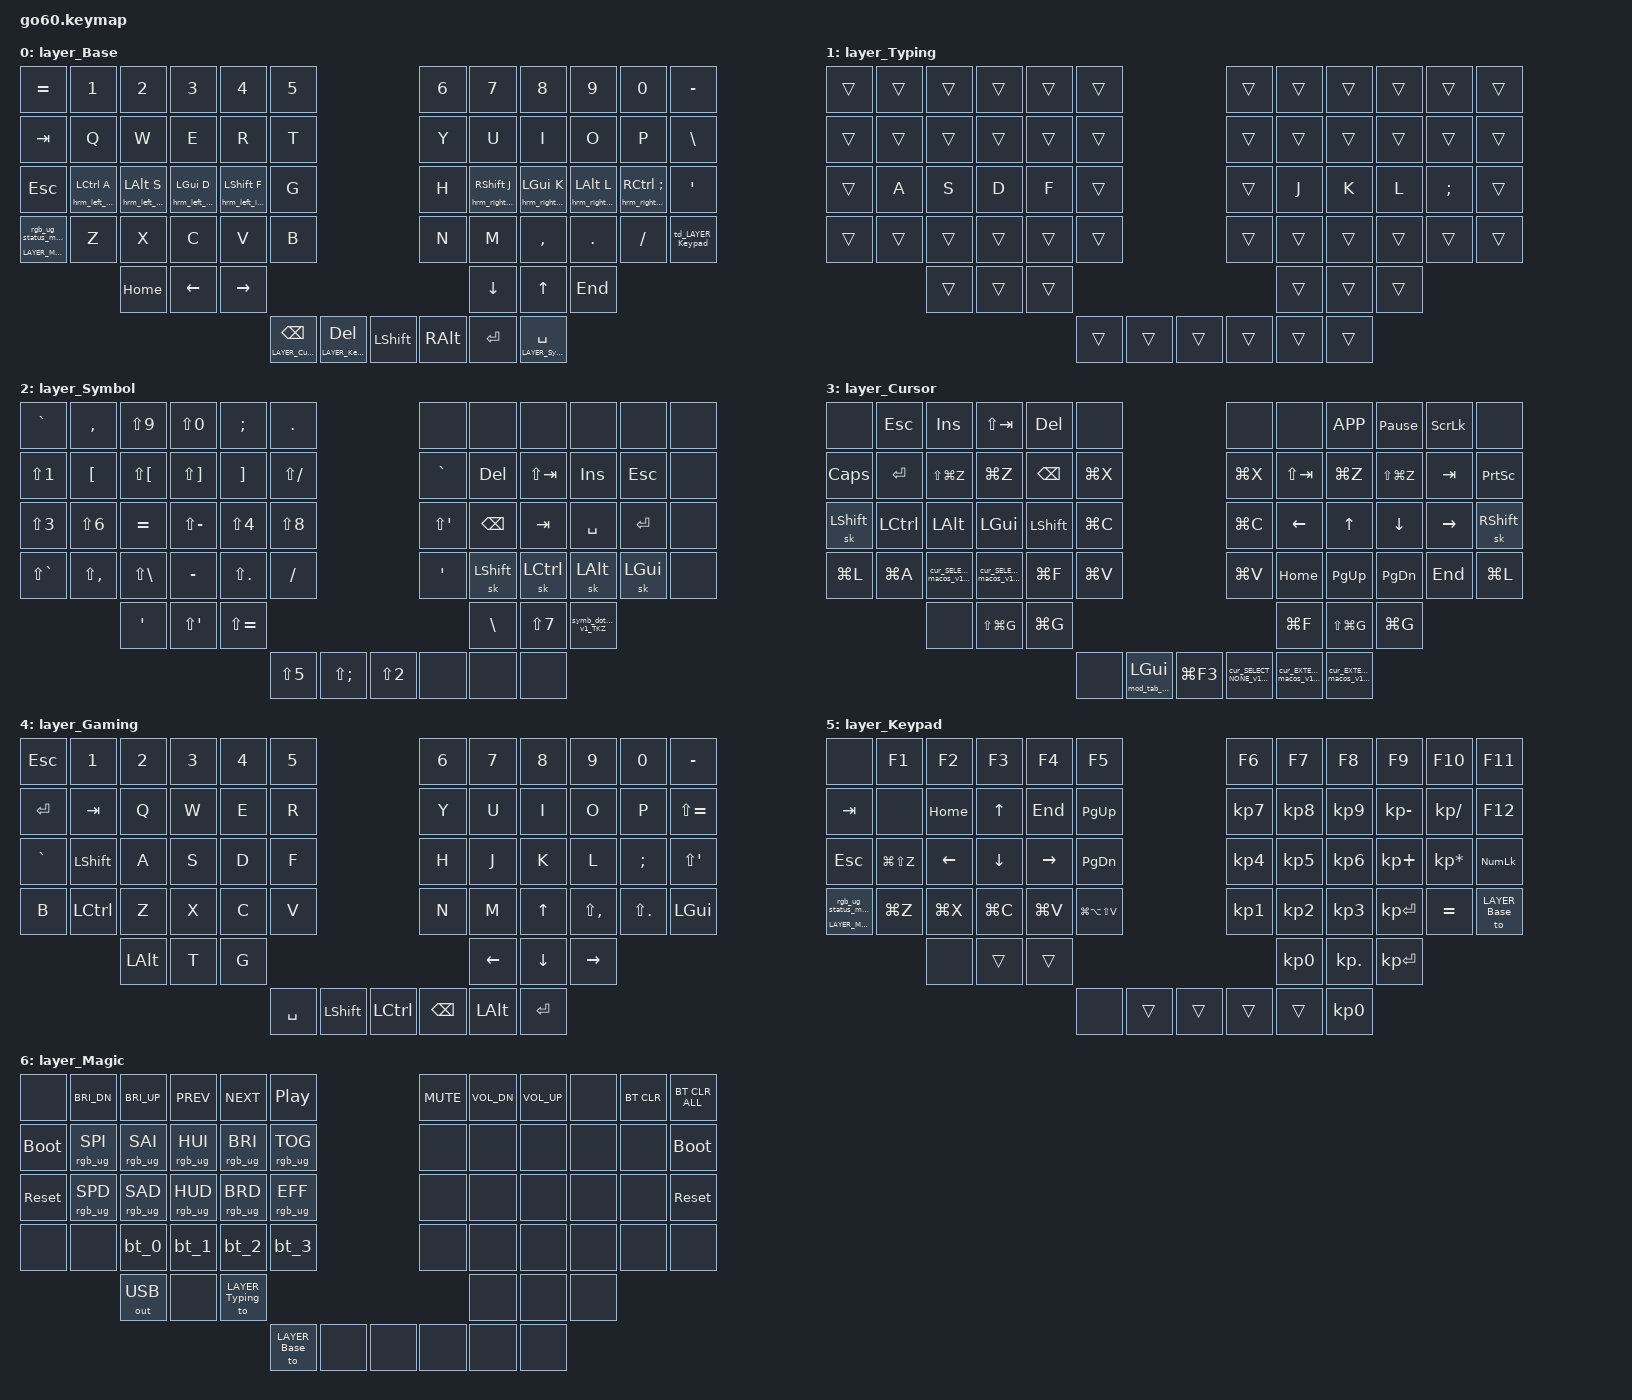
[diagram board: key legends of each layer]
/*
 * Copyright (c) 2020 The ZMK Contributors
 * Copyright (c) 2025 Innaworks Development Limited, trading as MoErgo
 *
 * SPDX-License-Identifier: MIT
 */


/* THIS FILE WAS GENERATED BY GO60 LAYOUT EDITOR
 *
 * This file was generated automatically. You may or may not want to
 * edit it directly.
 */

#include <behaviors.dtsi>

/* Include all behavior includes needed */

#include <dt-bindings/zmk/outputs.h>
#include <dt-bindings/zmk/keys.h>
#include <dt-bindings/zmk/bt.h>
#include <dt-bindings/zmk/rgb.h>

#include <input/processors.dtsi>
#include <dt-bindings/zmk/input_transform.h>
#include <zephyr/dt-bindings/input/input-event-codes.h>

/* On demand includes */
#include <dt-bindings/zmk/input_transform.h>
#include <dt-bindings/zmk/pointing.h>
#include <input/processors.dtsi>

/* Helper Macros, based on https://github.com/urob/zmk-helpers/ */

#pragma once

#define ZMK_HELPER_STRINGIFY(x) #x

// Preprocessor mechanism to overload macros, cf. https://stackoverflow.com/a/27051616/6114651
#define VARGS_(_10, _9, _8, _7, _6, _5, _4, _3, _2, _1, N, ...) N
#define VARGS(...) VARGS_(__VA_ARGS__, 10, 9, 8, 7, 6, 5, 4, 3, 2, 1, 0)
#define CONCAT_(a, b) a##b
#define CONCAT(a, b) CONCAT_(a, b)

#define ZMK_BEHAVIOR_CORE_tap_dance  \
    compatible = "zmk,behavior-tap-dance"; \
    #binding-cells = <0>

#define ZMK_BEHAVIOR(name, type, ...) \
    name: name { \
        ZMK_BEHAVIOR_CORE_ ## type; \
        __VA_ARGS__ \
    };

#define ZMK_TAP_DANCE(name, ...) \
    ZMK_BEHAVIOR(name, tap_dance, __VA_ARGS__)

#define ZMK_TD_LAYER(name, layer) \
    ZMK_TAP_DANCE(name, \
        tapping-term-ms = <200>; \
        bindings = <&mo layer>, <&to layer>; \
)

#define ZMK_HRM(name, tapping_term, prior_idle, hold_triggers) \
    name: name { \
        compatible = "zmk,behavior-hold-tap"; \
        #binding-cells = <2>; \
        tapping-term-ms = <tapping_term>; \
        bindings = <&kp>, <&kp>; \
        flavor = "balanced"; \
        quick-tap-ms = <300>; \
        require-prior-idle-ms = <prior_idle>; \
        hold-trigger-key-positions = <hold_triggers>; \
        hold-trigger-on-release; \
    };





/* Key positions */

#define POS_LH_C6R1 0
#define POS_LH_C5R1 1
#define POS_LH_C4R1 2
#define POS_LH_C3R1 3
#define POS_LH_C2R1 4
#define POS_LH_C1R1 5
#define POS_RH_C1R1 6
#define POS_RH_C2R1 7
#define POS_RH_C3R1 8
#define POS_RH_C4R1 9
#define POS_RH_C5R1 10
#define POS_RH_C6R1 11
#define POS_LH_C6R2 12
#define POS_LH_C5R2 13
#define POS_LH_C4R2 14
#define POS_LH_C3R2 15
#define POS_LH_C2R2 16
#define POS_LH_C1R2 17
#define POS_RH_C1R2 18
#define POS_RH_C2R2 19
#define POS_RH_C3R2 20
#define POS_RH_C4R2 21
#define POS_RH_C5R2 22
#define POS_RH_C6R2 23
#define POS_LH_C6R3 24
#define POS_LH_C5R3 25
#define POS_LH_C4R3 26
#define POS_LH_C3R3 27
#define POS_LH_C2R3 28
#define POS_LH_C1R3 29
#define POS_RH_C1R3 30
#define POS_RH_C2R3 31
#define POS_RH_C3R3 32
#define POS_RH_C4R3 33
#define POS_RH_C5R3 34
#define POS_RH_C6R3 35
#define POS_LH_C6R4 36
#define POS_LH_C5R4 37
#define POS_LH_C4R4 38
#define POS_LH_C3R4 39
#define POS_LH_C2R4 40
#define POS_LH_C1R4 41
#define POS_RH_C1R4 42
#define POS_RH_C2R4 43
#define POS_RH_C3R4 44
#define POS_RH_C4R4 45
#define POS_RH_C5R4 46
#define POS_RH_C6R4 47
#define POS_LH_C4R5 48
#define POS_LH_C3R5 49
#define POS_LH_C2R5 50
#define POS_RH_C2R5 51
#define POS_RH_C3R5 52
#define POS_RH_C4R5 53
#define POS_LH_T1 54
#define POS_LH_T2 55
#define POS_LH_T3 56
#define POS_RH_T3 57
#define POS_RH_T2 58
#define POS_RH_T1 59


#define LEFT_HAND_KEYS \
  POS_LH_C1R1 POS_LH_C2R1 POS_LH_C3R1 POS_LH_C4R1 POS_LH_C5R1 POS_LH_C6R1 \
  POS_LH_C1R2 POS_LH_C2R2 POS_LH_C3R2 POS_LH_C4R2 POS_LH_C5R2 POS_LH_C6R2 \
  POS_LH_C1R3 POS_LH_C2R3 POS_LH_C3R3 POS_LH_C4R3 POS_LH_C5R3 POS_LH_C6R3 \
  POS_LH_C1R4 POS_LH_C2R4 POS_LH_C3R4 POS_LH_C4R4 POS_LH_C5R4 POS_LH_C6R4 \
              POS_LH_C2R5 POS_LH_C3R5 POS_LH_C4R5

#define RIGHT_HAND_KEYS \
  POS_RH_C1R1 POS_RH_C2R1 POS_RH_C3R1 POS_RH_C4R1 POS_RH_C5R1 POS_RH_C6R1 \
  POS_RH_C1R2 POS_RH_C2R2 POS_RH_C3R2 POS_RH_C4R2 POS_RH_C5R2 POS_RH_C6R2 \
  POS_RH_C1R3 POS_RH_C2R3 POS_RH_C3R3 POS_RH_C4R3 POS_RH_C5R3 POS_RH_C6R3 \
  POS_RH_C1R4 POS_RH_C2R4 POS_RH_C3R4 POS_RH_C4R4 POS_RH_C5R4 POS_RH_C6R4 \
              POS_RH_C2R5 POS_RH_C3R5 POS_RH_C4R5

#define THUMB_KEYS \
  POS_LH_T1 POS_LH_T2 POS_LH_T3 \
  POS_RH_T1 POS_RH_T2 POS_RH_T3

#define HRM_LEFT_HOLD_TRIGGERS RIGHT_HAND_KEYS THUMB_KEYS
#define HRM_RIGHT_HOLD_TRIGGERS LEFT_HAND_KEYS THUMB_KEYS

/* Environment and metadata defines */
#define KB_TYPE_GLOVE_80 1
#define KB_TYPE_GO_60    2

#define KB_TYPE          KB_TYPE_GO_60
#define EDITOR_LAYOUT_OS 'M'
#define EDITOR_HOST_OS   'M'

/* Automatically generated layer name defines */
#define LAYER_Base 0
#define LAYER_Typing 1
#define LAYER_Symbol 2
#define LAYER_Cursor 3
#define LAYER_Gaming 4
#define LAYER_Keypad 5
#define LAYER_Magic 6

/* To deal with the situation where there is no Lower layer, to keep &lower happy */
#ifndef LAYER_Lower
#define LAYER_Lower 0
#endif

/* Generated input processors */


/* Custom Device-tree */
////////////////////////////////////////////////////////////////
// TailorKey 4.2j Go60 - RGB Lighting
// Paste this configuration into the Custom Device-tree section
// For more into, see https://sites.google.com/view/tailorkey
////////////////////////////////////////////////////////////////

#if __has_include(<dt-bindings/zmk/rgb_colors.h>)
  //
  // Color definitions with conflict guard to prevent
  // accidental redefinition of common abbreviations.
  //
  #if defined(RED) || defined(RED_RGB) || \
      defined(COR) || defined(COR_RGB) || \
      defined(ORN) || defined(ORN_RGB) || \
      defined(GDN) || defined(GDN_RGB) || \
      defined(GOL) || defined(GOL_RGB) || \
      defined(YLW) || defined(YLW_RGB) || \
      defined(CHU) || defined(CHU_RGB) || \
      defined(GRN) || defined(GRN_RGB) || \
      defined(SPG) || defined(SPG_RGB) || \
      defined(CYN) || defined(CYN_RGB) || \
      defined(AZU) || defined(AZU_RGB) || \
      defined(TEA) || defined(TEA_RGB) || \
      defined(TUR) || defined(TUR_RGB) || \
      defined(BLU) || defined(BLU_RGB) || \
      defined(PUR) || defined(PUR_RGB) || \
      defined(MAJ) || defined(MAJ_RGB) || \
      defined(PNK) || defined(PNK_RGB) || \
      defined(WHT) || defined(WHT_RGB) || \
      defined(BLK) || defined(BLK_RGB) || \
      defined(___) || \
      defined(DUG) || defined(DUG_RGB) || \
      defined(LAC) || defined(LAC_RGB) || \
      defined(BSL) || defined(BNL) || defined(BCL) || \
      defined(SSL) || defined(SNL) || defined(SCL) || \
      defined(FST) || defined(WRP) || defined(SLO)
  #error "Naming conflict: 3-letter color abbreviation already defined!"
  #endif

  //
  // color definitions from QMK
  // https://github.com/qmk/qmk_firmware/blob/master/quantum/color.h
  //
  #define RED_RGB 0xE54D2E
  #define COR_RGB 0xE5484D
  #define ORN_RGB 0xF76B15
  #define GDN_RGB 0x978365
  #define GOL_RGB 0xFFC53D
  #define YLW_RGB 0xFFE629
  #define CHU_RGB 0xBDEE63
  #define GRN_RGB 0x46A758
  #define SPG_RGB 0x30A46C
  #define CYN_RGB 0x00A2C7
  #define AZU_RGB 0x7CE2FE
  #define TEA_RGB 0x12A594
  #define TUR_RGB 0x86EAD4
  #define BLU_RGB 0x0090FF
  #define PUR_RGB 0x6E56CF
  #define MAJ_RGB 0xAB4ABA
  #define PNK_RGB 0xD6409F
  #define WHT_RGB 0xEDEEF0
  #define BLK_RGB 0x000000

  //
  // color definitions from MoErgo
  // https://github.com/moergo-sc/zmk/blob/aca523dfce9b6447ffd19d833b791d44f1f286de/app/src/rgb_underglow.c#L259-L265
  //
  #define DUG_RGB 0x29A383
  #define LAC_RGB 0x5B5BD6

  //
  // underglow for the colors above
  //
  #define RED &ug RED_RGB
  #define COR &ug COR_RGB
  #define ORN &ug ORN_RGB
  #define GDN &ug GDN_RGB
  #define GOL &ug GOL_RGB
  #define YLW &ug YLW_RGB
  #define CHU &ug CHU_RGB
  #define GRN &ug GRN_RGB
  #define SPG &ug SPG_RGB
  #define CYN &ug CYN_RGB
  #define AZU &ug AZU_RGB
  #define TEA &ug TEA_RGB
  #define TUR &ug TUR_RGB
  #define BLU &ug BLU_RGB
  #define PUR &ug PUR_RGB
  #define MAJ &ug MAJ_RGB
  #define PNK &ug PNK_RGB
  #define WHT &ug WHT_RGB
  #define ___ &ug BLK_RGB
  #define DUG &ug DUG_RGB
  #define LAC &ug LAC_RGB

  //
  // underglow for keyboard locks on the Base layer
  //
  #define BSL &ug_sl BLK_RGB RED_RGB // ScrollLock COLOR_OFF COLOR_ON
  #define BNL &ug_nl BLK_RGB RED_RGB // NumLock    COLOR_OFF COLOR_ON
  #define BCL &ug_cl BLK_RGB RED_RGB // CapsLock   COLOR_OFF COLOR_ON


  //
  // colors for mouse speed scaling in Mouse layers
  //
  #define FST GOL
  #define WRP CHU
  #define SLO COR

  #define BASE_TYPING_RGB(A, S, D, F, J, K, L, SEMI) \
    ___ ___ ___ ___ ___ ___                                     ___ ___ ___ ___ ___ ___ \
    ___ ___ ___ ___ ___ ___                                     ___ ___ ___ ___ ___ ___ \
    ___ A   S   D   F   ___                                     ___ J   K   L   SEMI ___ \
    MAJ ___ ___ ___ ___ ___                                     ___ ___ ___ ___ ___ GRN \
            ___ ___ ___                                             ___ ___ ___ \
                                 CYN GRN ___     ___ ___ YLW


  // ==== PER-KEY-RGB <section begins> ====
  / {
    underglow-layer {
      compatible = "zmk,underglow-layer";

      Base {
        bindings = <BASE_TYPING_RGB(CHU, CYN, MAJ, YLW, YLW, MAJ, CYN, CHU)>;
        layer-id = <LAYER_Base>;
      };

      Typing {
        bindings = <BASE_TYPING_RGB(___, ___, ___, ___, ___, ___, ___, ___)>;
        layer-id = <LAYER_Typing>;
      };

      #ifdef LAYER_HRM_WinLinx
      HRM_WinLinx {
        bindings = <
          ___ ___ BCL BNL BSL ___                                     ___ ___ ___ ___ ___ ___
          ___ ___ ___ ___ ___ ___                                     ___ ___ ___ ___ ___ ___
          ___ MAJ CYN CHU YLW ___                                     ___ YLW CHU CYN MAJ ___
          ___ ___ ___ ___ ___ ___                                     ___ ___ ___ ___ ___ ___
                  ___ ___ ___                                             ___ ___ ___
                                       ___ ___ ___     ___ ___ ___
        >;
        layer-id = <LAYER_HRM_WinLinx>;
        fade-delay = <30>;
      };
      #endif

      #ifdef LAYER_HRM_macOS
      HRM_macOS {
        bindings = <
          ___ ___ BCL BNL BSL ___                                     ___ ___ ___ ___ ___ ___
          ___ ___ ___ ___ ___ ___                                     ___ ___ ___ ___ ___ ___
          ___ CHU CYN MAJ YLW ___                                     ___ YLW MAJ CYN CHU ___
          ___ ___ ___ ___ ___ ___                                     ___ ___ ___ ___ ___ ___
                  ___ ___ ___                                             ___ ___ ___
                                       ___ ___ ___     ___ ___ ___
        >;
        layer-id = <LAYER_HRM_macOS>;
        fade-delay = <30>;
      };
      #endif

      #ifdef LAYER_Keypad
      Keypad {
        bindings = <
          ___ WHT WHT WHT WHT WHT                                     WHT WHT WHT WHT WHT WHT
          WHT ___ GRN GRN GRN GRN                                     WHT WHT WHT WHT WHT WHT
          WHT YLW GRN GRN GRN GRN                                     WHT WHT WHT WHT WHT ORN
          ___ YLW YLW YLW YLW YLW                                     WHT WHT WHT WHT WHT ___
                  ___ WHT WHT                                             WHT WHT WHT
                                       WHT WHT WHT     WHT WHT WHT
        >;
        layer-id = <LAYER_Keypad>;
        fade-delay = <15>;
      };
      #endif

  #ifdef LAYER_Autoshift
  Autoshift {
    bindings = <
          YLW YLW YLW YLW YLW YLW                                     YLW YLW YLW YLW YLW YLW
          ___ YLW YLW YLW YLW YLW                                     YLW YLW YLW YLW YLW YLW
          ___ YLW YLW YLW YLW YLW                                     YLW YLW YLW YLW YLW YLW
          YLW YLW YLW YLW YLW YLW                                     YLW YLW YLW YLW YLW ___
                  ___ ___ ___                                             ___ ___ ___
                                      ___ ___ ___     ___ ___ ___
    >;
    layer-id = <LAYER_Autoshift>;
    fade-delay = <180>;
  };
  #endif

 #ifdef LAYER_LeftPinky
  LeftPinky {
    bindings = <
          ___ ___ BCL BNL BSL ___                                     ___ ___ ___ ___ ___ ___
          ___ MAJ ___ ___ ___ ___                                     ___ ___ ___ ___ ___ ___
          ___ MAJ ___ ___ ___ ___                                     ___ ___ ___ ___ ___ ___
          ___ MAJ ___ ___ ___ ___                                     ___ ___ ___ ___ ___ ___
                  ___ ___ ___                                             ___ ___ ___
                                       ___ ___ ___     ___ ___ ___
        >;
    layer-id = <LAYER_LeftPinky>;
    fade-delay = <15>;
  };
  #endif

  #ifdef LAYER_LeftRingy
  LeftRingy {
    bindings = <
          ___ ___ BCL BNL BSL ___                                     ___ ___ ___ ___ ___ ___
          ___ ___ CYN ___ ___ ___                                     ___ ___ ___ ___ ___ ___
          ___ ___ CYN ___ ___ ___                                     ___ ___ ___ ___ ___ ___
          ___ ___ CYN ___ ___ ___                                     ___ ___ ___ ___ ___ ___
                  ___ ___ ___                                             ___ ___ ___
                                       ___ ___ ___     ___ ___ ___
    >;
    layer-id = <LAYER_LeftRingy>;
    fade-delay = <15>;
  };
  #endif

  #ifdef LAYER_LeftMiddy
  LeftMiddy {
    bindings = <
          ___ ___ BCL BNL BSL ___                                     ___ ___ ___ ___ ___ ___
          ___ ___ ___ GRN ___ ___                                     ___ ___ ___ ___ ___ ___
          ___ ___ ___ GRN ___ ___                                     ___ ___ ___ ___ ___ ___
          ___ ___ ___ GRN ___ ___                                     ___ ___ ___ ___ ___ ___
                  ___ ___ ___                                             ___ ___ ___
                                       ___ ___ ___     ___ ___ ___
    >;
    layer-id = <LAYER_LeftMiddy>;
    fade-delay = <15>;
   };
  #endif

  #ifdef LAYER_LeftIndex
  LeftIndex {
    bindings = <
          ___ ___ BCL BNL BSL ___                                     ___ ___ ___ ___ ___ ___
          ___ ___ ___ ___ YLW ___                                     ___ ___ ___ ___ ___ ___
          ___ ___ ___ ___ YLW ___                                     ___ ___ ___ ___ ___ ___
          ___ ___ ___ ___ YLW ___                                     ___ ___ ___ ___ ___ ___
                  ___ ___ ___                                             ___ ___ ___
                                       ___ ___ ___     ___ ___ ___
    >;
    layer-id = <LAYER_LeftIndex>;
    fade-delay = <15>;
  };
  #endif

  #ifdef LAYER_RightIndex
  RightIndex {
    bindings = <
         ___ ___ BCL BNL BSL ___                                     ___ ___ ___ ___ ___ ___
          ___ ___ ___ ___ ___ ___                                     ___ YLW ___ ___ ___ ___
          ___ ___ ___ ___ ___ ___                                     ___ YLW ___ ___ ___ ___
          ___ ___ ___ ___ ___ ___                                     ___ YLW ___ ___ ___ ___
                  ___ ___ ___                                             ___ ___ ___
                                       ___ ___ ___     ___ ___ ___
    >;
    layer-id = <LAYER_RightIndex>;
    fade-delay = <15>;
  };
  #endif

  #ifdef LAYER_RightMiddy
  RightMiddy {
    bindings = <
          ___ ___ BCL BNL BSL ___                                     ___ ___ ___ ___ ___ ___
          ___ ___ ___ ___ ___ ___                                     ___ ___ GRN ___ ___ ___
          ___ ___ ___ ___ ___ ___                                     ___ ___ GRN ___ ___ ___
          ___ ___ ___ ___ ___ ___                                     ___ ___ GRN ___ ___ ___
                  ___ ___ ___                                             ___ ___ ___
                                       ___ ___ ___     ___ ___ ___
    >;
    layer-id = <LAYER_RightMiddy>;
    fade-delay = <15>;
  };
  #endif

  #ifdef LAYER_RightRingy
  RightRingy {
    bindings = <
          ___ ___ BCL BNL BSL ___                                     ___ ___ ___ ___ ___ ___
          ___ ___ ___ ___ ___ ___                                     ___ ___ ___ CYN ___ ___
          ___ ___ ___ ___ ___ ___                                     ___ ___ ___ CYN ___ ___
          ___ ___ ___ ___ ___ ___                                     ___ ___ ___ CYN ___ ___
                  ___ ___ ___                                             ___ ___ ___
                                       ___ ___ ___     ___ ___ ___
    >;
    layer-id = <LAYER_RightRingy>;
    fade-delay = <15>;
  };
  #endif

  #ifdef LAYER_RightPinky
  RightPinky {
    bindings = <
          ___ ___ BCL BNL BSL ___                                     ___ ___ ___ ___ ___ ___
          ___ ___ ___ ___ ___ ___                                     ___ ___ ___ ___ MAJ ___
          ___ ___ ___ ___ ___ ___                                     ___ ___ ___ ___ MAJ ___
          ___ ___ ___ ___ ___ ___                                     ___ ___ ___ ___ MAJ ___
                  ___ ___ ___                                             ___ ___ ___
                                       ___ ___ ___     ___ ___ ___
    >;
    layer-id = <LAYER_RightPinky>;
    fade-delay = <15>;
  };
  #endif


  #ifdef LAYER_Cursor
  Cursor {
    bindings = <
          ___ ORN ORN ORN ORN ___                                     ___ ___ ___ ___ ___ ___
          ___ ORN MAJ MAJ ORN YLW                                     YLW ORN PNK PNK ORN ___
          WHT WHT WHT WHT WHT YLW                                     YLW GRN GRN GRN GRN WHT
          MAJ CYN CYN CYN MAJ YLW                                     YLW GRN GRN GRN GRN MAJ
                  ___ MAJ MAJ                                             MAJ MAJ MAJ
                                      ___ DUG ___     CYN CYN CYN
    >;
    layer-id = <LAYER_Cursor>;
    fade-delay = <5>;
  };
  #endif

  #ifdef LAYER_Cursor_macOS
  Cursor_macOS {
    bindings = <
          ___ ORN ORN ORN ORN ___                                     ___ ___ ___ ___ ___ ___
          ___ ORN CYN CYN ORN YLW                                     YLW ORN PNK PNK ORN ___
          WHT WHT WHT WHT WHT YLW                                     YLW GRN GRN GRN GRN WHT
          MAJ CYN CYN CYN MAJ YLW                                     YLW GRN GRN GRN GRN MAJ
                  ___ MAJ MAJ                                             MAJ MAJ MAJ
                                      ___ DUG ___     CYN CYN CYN
    >;
    layer-id = <LAYER_Cursor_macOS>;
    fade-delay = <5>;
  };
  #endif

  #ifdef LAYER_Symbol
  Symbol {
    bindings = <
          MAJ AZU AZU AZU YLW YLW                                     ___ ___ ___ ___ ___ ___
          AZU MAJ AZU AZU YLW YLW                                     MAJ ORN ORN ORN ORN ___
          YLW YLW CHU ORN YLW YLW                                     MAJ ORN ORN ORN ORN ___
          MAJ CHU CHU CHU CHU YLW                                     MAJ WHT WHT WHT WHT ___
                  MAJ MAJ ORN                                             YLW YLW YLW
                                      YLW YLW YLW     ___ ___ ___
    >;
    layer-id = <LAYER_Symbol>;
    fade-delay = <5>;
  };
  #endif

  #ifdef LAYER_Mouse
  Mouse {
    bindings = <
          ___ ___ ___ ___ ___ ___                                     ___ ___ ___ ___ ___ ___
          ___ ___ LAC AZU LAC ___                                     ___ WHT WHT WHT WHT ___
          ___ TEA AZU AZU AZU ___                                     ___ FST WRP SLO YLW PNK
          ___ TEA SLO WRP FST ___                                     ___ LAC AZU LAC ORN PNK
                  YLW YLW YLW                                                 AZU AZU AZU
                                      YLW ORN PNK     ___ DUG ___
    >;
    layer-id = <LAYER_Mouse>;
    fade-delay = <5>;
  };
  #endif

  #ifdef LAYER_MouseFast
  MouseFast {
    bindings = <

          ___ ___ ___ ___ ___ ___                                     ___ YLW GRN CYN MAJ ___
          ___ ___ FST FST FST ___                                     ___ FST FST FST FST ___
          ___ FST FST FST FST ___                                     ___ FST WRP SLO ___ ___
          ___ FST SLO WRP FST ___                                     ___ FST FST FST FST ___
                  ___ ___ ___                                             YLW ORN MAJ
                                      YLW ORN PNK     ___ DUG ___
    >;
    layer-id = <LAYER_MouseFast>;
    fade-delay = <5>;
  };
  #endif

  #ifdef LAYER_MouseWarp
  MouseWarp {
    bindings = <

          ___ ___ ___ ___ ___ ___                                     ___ YLW GRN CYN MAJ ___
          ___ ___ WRP WRP WRP ___                                     ___ WRP WRP WRP WRP ___
          ___ WRP WRP WRP WRP ___                                     ___ FST WRP SLO ___ ___
          ___ WRP SLO WRP FST ___                                     ___ WRP WRP WRP WRP ___
                  ___ ___ ___                                             YLW ORN MAJ
                                      YLW ORN PNK     ___ DUG ___
    >;
    layer-id = <LAYER_MouseWarp>;
    fade-delay = <5>;
  };
  #endif

  #ifdef LAYER_MouseSlow
  MouseSlow {
    bindings = <
      ___ ___ ___ ___ ___ ___                                     ___ YLW GRN CYN MAJ ___
      ___ ___ SLO SLO SLO ___                                     ___ SLO SLO SLO SLO ___
      ___ SLO SLO SLO SLO ___                                     ___ FST WRP SLO ___ ___
      ___ SLO SLO WRP FST ___                                     ___ SLO SLO SLO SLO ___
              ___ ___ ___                                             YLW ORN MAJ
                                      YLW ORN PNK     ___ DUG ___
    >;
    layer-id = <LAYER_MouseSlow>;
    fade-delay = <5>;
  };
  #endif

  #ifdef LAYER_Gaming
  Gaming {
    bindings = <

      ___ ___ ___ ___ ___ ___                                     ___ ___ ___ ___ ___ ___
      ___ ___ ___ GRN ___ ___                                     ___ ___ ___ ___ ___ ___
      ___ ___ GRN GRN GRN ___                                     ___ ___ ___ ___ ___ ___
      YLW ___ ___ ___ ___ ___                                     ___ ___ GRN ___ ___ ___
              ___ ___ ___                                             GRN GRN GRN
                                   ___ ___ ___     ___ ___ ___
    >;
    layer-id = <LAYER_Gaming>;
    fade-delay = <120>;
     };
      #endif


    };
  };
  // ==== PER-KEY-RGB <section ends> =====

  #undef RED
  #undef RED_RGB
  #undef COR
  #undef COR_RGB
  #undef ORN
  #undef ORN_RGB
  #undef GDN
  #undef GDN_RGB
  #undef GOL
  #undef GOL_RGB
  #undef YLW
  #undef YLW_RGB
  #undef CHU
  #undef CHU_RGB
  #undef GRN
  #undef GRN_RGB
  #undef SPG
  #undef SPG_RGB
  #undef CYN
  #undef CYN_RGB
  #undef AZU
  #undef AZU_RGB
  #undef TEA
  #undef TEA_RGB
  #undef TUR
  #undef TUR_RGB
  #undef BLU
  #undef BLU_RGB
  #undef PUR
  #undef PUR_RGB
  #undef MAJ
  #undef MAJ_RGB
  #undef PNK
  #undef PNK_RGB
  #undef WHT
  #undef WHT_RGB
  #undef BLK
  #undef BLK_RGB
  #undef ___
  #undef DUG
  #undef DUG_RGB
  #undef LAC
  #undef LAC_RGB

  #undef BSL
  #undef BNL
  #undef BCL

  #undef SSL
  #undef SNL
  #undef SCL

  #undef FST
  #undef WRP
  #undef SLO
#endif


/* Input Listeners */
&mmv_input_listener {
};

&msc_input_listener {
};

&cirque_lh_listener {
    input-processors = <&zip_xy_scaler 2 1>, <&zip_xy_to_scroll_mapper>;
};

&cirque_rh_listener {
    input-processors = <&zip_xy_scaler 9 1>;
};

/* System behavior and macros */
/ {
    behaviors {
        ZMK_TD_LAYER(lower, LAYER_Lower)
    };
};

/ {
    macros {
        rgb_ug_status_macro: rgb_ug_status_macro {
            label = "RGB_UG_STATUS";
            compatible = "zmk,behavior-macro";
            #binding-cells = <0>;
            bindings
                = <&rgb_ug RGB_STATUS>;
        };
    };
};

/ {
#ifdef BT_DISC_CMD
    behaviors {
        bt_0: bt_0 {
            compatible = "zmk,behavior-tap-dance";
            label = "BT_0";
            #binding-cells = <0>;
            tapping-term-ms = <200>;
            bindings = <&bt_select_0>, <&bt BT_DISC 0>;
        };
        bt_1: bt_1 {
            compatible = "zmk,behavior-tap-dance";
            label = "BT_1";
            #binding-cells = <0>;
            tapping-term-ms = <200>;
            bindings = <&bt_select_1>, <&bt BT_DISC 1>;
        };
        bt_2: bt_2 {
            compatible = "zmk,behavior-tap-dance";
            label = "BT_2";
            #binding-cells = <0>;
            tapping-term-ms = <200>;
            bindings = <&bt_select_2>, <&bt BT_DISC 2>;
        };
        bt_3: bt_3 {
            compatible = "zmk,behavior-tap-dance";
            label = "BT_3";
            #binding-cells = <0>;
            tapping-term-ms = <200>;
            bindings = <&bt_select_3>, <&bt BT_DISC 3>;
        };
    };
    macros {
        bt_select_0: bt_select_0 {
            label = "BT_SELECT_0";
            compatible = "zmk,behavior-macro";
            #binding-cells = <0>;
            bindings
                = <&out OUT_BLE>,
                  <&bt BT_SEL 0>;
        };
        bt_select_1: bt_select_1 {
            label = "BT_SELECT_1";
            compatible = "zmk,behavior-macro";
            #binding-cells = <0>;
            bindings
                = <&out OUT_BLE>,
                  <&bt BT_SEL 1>;
        };
        bt_select_2: bt_select_2 {
            label = "BT_SELECT_2";
            compatible = "zmk,behavior-macro";
            #binding-cells = <0>;
            bindings
                = <&out OUT_BLE>,
                  <&bt BT_SEL 2>;
        };
        bt_select_3: bt_select_3 {
            label = "BT_SELECT_3";
            compatible = "zmk,behavior-macro";
            #binding-cells = <0>;
            bindings
                = <&out OUT_BLE>,
                  <&bt BT_SEL 3>;
        };
    };
#else
    macros {
        bt_0: bt_0 {
            label = "BT_0";
            compatible = "zmk,behavior-macro";
            #binding-cells = <0>;
            bindings
                = <&out OUT_BLE>,
                  <&bt BT_SEL 0>;
        };
        bt_1: bt_1 {
            label = "BT_1";
            compatible = "zmk,behavior-macro";
            #binding-cells = <0>;
            bindings
                = <&out OUT_BLE>,
                  <&bt BT_SEL 1>;
        };
        bt_2: bt_2 {
            label = "BT_2";
            compatible = "zmk,behavior-macro";
            #binding-cells = <0>;
            bindings
                = <&out OUT_BLE>,
                  <&bt BT_SEL 2>;
        };
        bt_3: bt_3 {
            label = "BT_3";
            compatible = "zmk,behavior-macro";
            #binding-cells = <0>;
            bindings
                = <&out OUT_BLE>,
                  <&bt BT_SEL 3>;
        };
    };
#endif
};

/ {
    behaviors {
        magic: magic {
            compatible = "zmk,behavior-hold-tap";
            label = "MAGIC_HOLD_TAP";
            #binding-cells = <2>;
            flavor = "tap-preferred";
            tapping-term-ms = <200>;
            bindings = <&mo>, <&rgb_ug_status_macro>;
        };
    };
};


/* Custom Defined Behaviors */
/ {

};

/* Automatically generated macro definitions */
/ {
    macros {

        // Cursor Layer - Extent Line (seq) - TailorKey
        cur_EXTEND_LINE_macos_v1_TKZ: cur_EXTEND_LINE_macos_v1_TKZ {
            label = "&CUR_EXTEND_LINE_MACOS_V1_TKZ";
            compatible = "zmk,behavior-macro";
            #binding-cells = <0>;
            tap-ms = <1>;
            wait-ms = <1>;
            bindings = <&kp LG(LS(RIGHT))>;
        };

        // Cursor Layer - Extend Word (seq) - TailorKey
        cur_EXTEND_WORD_macos_v1_TKZ: cur_EXTEND_WORD_macos_v1_TKZ {
            label = "&CUR_EXTEND_WORD_MACOS_V1_TKZ";
            compatible = "zmk,behavior-macro";
            #binding-cells = <0>;
            tap-ms = <1>;
            wait-ms = <1>;
            bindings = <&kp LA(LS(RIGHT))>;
        };

        // Cursor Layer macos - Select Line (seq) - TailorKey
        cur_SELECT_LINE_macos_v1_TKZ: cur_SELECT_LINE_macos_v1_TKZ {
            label = "&CUR_SELECT_LINE_MACOS_V1_TKZ";
            compatible = "zmk,behavior-macro";
            #binding-cells = <0>;
            tap-ms = <1>;
            wait-ms = <1>;
            bindings = <&kp LG(LEFT)>
                , <&kp LG(LS(RIGHT))>;
        };

        // Cursor Layer - Select None (seq) - TailorKey
        cur_SELECT_NONE_v1_TKZ: cur_SELECT_NONE_v1_TKZ {
            label = "&CUR_SELECT_NONE_V1_TKZ";
            compatible = "zmk,behavior-macro";
            #binding-cells = <0>;
            tap-ms = <1>;
            wait-ms = <1>;
            bindings = <&kp DOWN>
                , <&kp UP>
                , <&kp RIGHT>
                , <&kp LEFT>;
        };

        // Cursor Layer - Select Word (seq) - TailorKey
        cur_SELECT_WORD_macos_v1_TKZ: cur_SELECT_WORD_macos_v1_TKZ {
            label = "&CUR_SELECT_WORD_MACOS_V1_TKZ";
            compatible = "zmk,behavior-macro";
            #binding-cells = <0>;
            tap-ms = <1>;
            wait-ms = <1>;
            bindings = <&kp LA(LEFT)>
                , <&kp LA(LS(RIGHT))>;
        };

        // mod_tab_switcher_chord -  TailorKey
        mod_tab_chord_v2_TKZ: mod_tab_chord_v2_TKZ {
            label = "&MOD_TAB_CHORD_V2_TKZ";
            compatible = "zmk,behavior-macro-two-param";
            #binding-cells = <2>;
            tap-ms = <0>;
            wait-ms = <0>;
            bindings = <&macro_press>
                , <&macro_param_2to1>
                , <&mo MACRO_PLACEHOLDER>
                , <&macro_press>
                , <&macro_param_1to1>
                , <&mod_tab_v2_TKZ MACRO_PLACEHOLDER>
                , <&macro_pause_for_release>
                , <&macro_release>
                , <&macro_param_1to1>
                , <&mod_tab_v2_TKZ MACRO_PLACEHOLDER>
                , <&macro_release>
                , <&macro_param_2to1>
                , <&mo MACRO_PLACEHOLDER>;
        };

        // mod_tab_switcher - TailorKey
        //
        //
        mod_tab_v2_TKZ: mod_tab_v2_TKZ {
            label = "&MOD_TAB_V2_TKZ";
            compatible = "zmk,behavior-macro-one-param";
            #binding-cells = <1>;
            tap-ms = <0>;
            wait-ms = <0>;
            bindings = <&macro_press>
                , <&macro_param_1to1>
                , <&kp MACRO_PLACEHOLDER>
                , <&macro_tap>
                , <&kp TAB>
                , <&macro_pause_for_release>
                , <&macro_release>
                , <&macro_param_1to1>
                , <&kp MACRO_PLACEHOLDER>;
        };

        // Symbol layer dot dot
        symb_dotdot_v1_TKZ: symb_dotdot_v1_TKZ {
            label = "&SYMB_DOTDOT_V1_TKZ";
            compatible = "zmk,behavior-macro";
            #binding-cells = <0>;
            tap-ms = <0>;
            wait-ms = <0>;
            bindings = <&macro_tap>
                , <&kp DOT>
                , <&kp DOT>;
        };
    };
};

/* Automatically generated behavior definitions */
/ {
    behaviors {

        // Layer tap dance behaviors

        ZMK_TD_LAYER(td_LAYER_Keypad, 5)

        ZMK_HRM(hrm_left_index, 180, 100, HRM_LEFT_HOLD_TRIGGERS)
        ZMK_HRM(hrm_left_middle, 170, 150, HRM_LEFT_HOLD_TRIGGERS)
        ZMK_HRM(hrm_left_ring, 220, 150, HRM_LEFT_HOLD_TRIGGERS)
        ZMK_HRM(hrm_left_pinky, 250, 150, HRM_LEFT_HOLD_TRIGGERS)
        ZMK_HRM(hrm_right_index, 180, 100, HRM_RIGHT_HOLD_TRIGGERS)
        ZMK_HRM(hrm_right_middle, 170, 150, HRM_RIGHT_HOLD_TRIGGERS)
        ZMK_HRM(hrm_right_ring, 220, 150, HRM_RIGHT_HOLD_TRIGGERS)
        ZMK_HRM(hrm_right_pinky, 250, 150, HRM_RIGHT_HOLD_TRIGGERS)
    };
};

/* Automatically generated combos definitions */
/ {
    combos {
        compatible = "zmk,combos";

        // toggle gaming layer - TailorKey
        combo_gaming_layer_v1_TKZ {
            timeout-ms = <50>;
            key-positions = <POS_LH_C1R4 POS_LH_C2R5>;
            bindings = <&tog LAYER_Gaming>;
        };

        // capslock when pressing both T1's - TailorKey
        combo_capslock_v1_TKZ {
            timeout-ms = <50>;
            key-positions = <POS_LH_T1 POS_RH_T1>;
            bindings = <&kp CAPS>;
            layers = <LAYER_Base LAYER_Typing>;
        };

        // Alt Tab Switcher (Cursor Layer) - TailorKey
        combo_tabswitch_alt_v1_TKZ {
            key-positions = <POS_LH_T1 POS_LH_C1R4>;
            bindings = <&mod_tab_chord_v2_TKZ LALT LAYER_Cursor>;
            layers = <LAYER_Base LAYER_Typing>;
        };

        // Alt Tab Switcher (Cursor Layer) - TailorKey
        combo_tabswitch_ctrl_v1_TKZ {
            key-positions = <POS_LH_C2R4 POS_LH_C2R5>;
            bindings = <&mod_tab_chord_v2_TKZ LC(LGUI) LAYER_Cursor>;
            layers = <LAYER_Base LAYER_Typing>;
        };
    };
};

/* Automatically generated keymap */
/ {
    keymap {
        compatible = "zmk,keymap";


        layer_Base {
            bindings = <
            &kp EQUAL                         &kp N1                        &kp N2                        &kp N3                         &kp N4  &kp N5                                                                                                     &kp N6                          &kp N7                         &kp N8                         &kp N9                             &kp N0         &kp MINUS
              &kp TAB                          &kp Q                         &kp W                         &kp E                          &kp R   &kp T                                                                                                      &kp Y                           &kp U                          &kp I                          &kp O                              &kp P          &kp BSLH
              &kp ESC  &hrm_left_pinky LCTRL A  &hrm_left_ring LALT S  &hrm_left_middle LGUI D  &hrm_left_index LSHFT F   &kp G                                                                                                      &kp H  &hrm_right_index RSHFT J  &hrm_right_middle LGUI K  &hrm_right_ring LALT L  &hrm_right_pinky RCTRL SEMI           &kp SQT
 &magic LAYER_Magic 0                          &kp Z                         &kp X                         &kp C                          &kp V   &kp B                                                                                                      &kp N                           &kp M                      &kp COMMA                        &kp DOT                           &kp FSLH  &td_LAYER_Keypad
                                                                          &kp HOME                      &kp LEFT                      &kp RIGHT                                                                                                                                           &kp DOWN                         &kp UP                        &kp END
                                                                                                                                                         &lt LAYER_Cursor BSPC  &lt LAYER_Keypad DEL  &kp LSHFT  &kp RALT  &kp RET  &lt LAYER_Symbol SPACE
            >;
        };

        layer_Typing {
            bindings = <
 &trans  &trans  &trans  &trans  &trans  &trans                                                  &trans  &trans  &trans  &trans    &trans  &trans
 &trans  &trans  &trans  &trans  &trans  &trans                                                  &trans  &trans  &trans  &trans    &trans  &trans
 &trans   &kp A   &kp S   &kp D   &kp F  &trans                                                  &trans   &kp J   &kp K   &kp L  &kp SEMI  &trans
 &trans  &trans  &trans  &trans  &trans  &trans                                                  &trans  &trans  &trans  &trans    &trans  &trans
                 &trans  &trans  &trans                                                                  &trans  &trans  &trans
                                                 &trans  &trans  &trans  &trans  &trans  &trans
            >;
        };

        layer_Symbol {
            bindings = <
     &kp GRAVE      &kp COMMA    &kp LS(N9)            &kp LS(N0)       &kp SEMI       &kp DOT                                                                               &none      &none        &none                &none     &none   &none
    &kp LS(N1)       &kp LBKT  &kp LS(LBKT)          &kp LS(RBKT)       &kp RBKT  &kp LS(FSLH)                                                                           &kp GRAVE    &kp DEL  &kp LS(TAB)              &kp INS   &kp ESC   &none
    &kp LS(N3)     &kp LS(N6)     &kp EQUAL         &kp LS(MINUS)     &kp LS(N4)    &kp LS(N8)                                                                &kp LS(SINGLE_QUOTE)   &kp BSPC      &kp TAB            &kp SPACE   &kp RET   &none
 &kp LS(GRAVE)  &kp LS(COMMA)  &kp LS(BSLH)             &kp MINUS    &kp LS(DOT)      &kp FSLH                                                                             &kp SQT  &sk LSHFT    &sk LCTRL             &sk LALT  &sk LGUI   &none
                                    &kp SQT  &kp LS(SINGLE_QUOTE)  &kp LS(EQUAL)                                                                                                     &kp BSLH   &kp LS(N7)  &symb_dotdot_v1_TKZ
                                                                                                &kp LS(N5)  &kp LS(SEMI)  &kp LS(N2)   &none   &none   &none
            >;
        };

        layer_Cursor {
            bindings = <
     &none    &kp ESC                        &kp INS                    &kp LS(TAB)    &kp DEL      &none                                                                                                                                       &none        &none      &kp K_APP  &kp PAUSE_BREAK   &kp SLCK      &none
  &kp CAPS    &kp RET                  &kp LS(LG(Z))                      &kp LG(Z)   &kp BSPC  &kp LG(X)                                                                                                                                   &kp LG(X)  &kp LS(TAB)      &kp LG(Z)    &kp LS(LG(Z))    &kp TAB  &kp PSCRN
 &sk LSHFT  &kp LCTRL                       &kp LALT                       &kp LGUI  &kp LSHFT  &kp LG(C)                                                                                                                                   &kp LG(C)     &kp LEFT         &kp UP         &kp DOWN  &kp RIGHT  &sk RSHFT
 &kp LG(L)  &kp LG(A)  &cur_SELECT_LINE_macos_v1_TKZ  &cur_SELECT_WORD_macos_v1_TKZ  &kp LG(F)  &kp LG(V)                                                                                                                                   &kp LG(V)     &kp HOME      &kp PG_UP        &kp PG_DN    &kp END  &kp LG(L)
                                               &none                  &kp LS(LG(G))  &kp LG(G)                                                                                                                                                           &kp LG(F)  &kp LS(LG(G))        &kp LG(G)
                                                                                                            &none  &mod_tab_v2_TKZ LGUI  &kp LG(F3)  &cur_SELECT_NONE_v1_TKZ  &cur_EXTEND_LINE_macos_v1_TKZ  &cur_EXTEND_WORD_macos_v1_TKZ
            >;
        };

        layer_Gaming {
            bindings = <
   &kp ESC     &kp N1    &kp N2  &kp N3  &kp N4  &kp N5                                                                &kp N6    &kp N7    &kp N8         &kp N9       &kp N0      &kp MINUS
   &kp RET    &kp TAB     &kp Q   &kp W   &kp E   &kp R                                                                 &kp Y     &kp U     &kp I          &kp O        &kp P  &kp LS(EQUAL)
 &kp GRAVE  &kp LSHFT     &kp A   &kp S   &kp D   &kp F                                                                 &kp H     &kp J     &kp K          &kp L     &kp SEMI    &kp LS(SQT)
     &kp B  &kp LCTRL     &kp Z   &kp X   &kp C   &kp V                                                                 &kp N     &kp M    &kp UP  &kp LS(COMMA)  &kp LS(DOT)       &kp LGUI
                       &kp LALT   &kp T   &kp G                                                                                &kp LEFT  &kp DOWN      &kp RIGHT
                                                         &kp SPACE  &kp LSHFT  &kp LCTRL  &kp BSPC  &kp LALT  &kp RET
            >;
        };

        layer_Keypad {
            bindings = <
                &none         &kp F1     &kp F2     &kp F3     &kp F4             &kp F5                                                        &kp F6     &kp F7      &kp F8        &kp F9          &kp F10         &kp F11
              &kp TAB          &none   &kp HOME     &kp UP    &kp END          &kp PG_UP                                                     &kp KP_N7  &kp KP_N8   &kp KP_N9  &kp KP_MINUS     &kp KP_SLASH         &kp F12
              &kp ESC  &kp LG(LS(Z))   &kp LEFT   &kp DOWN  &kp RIGHT          &kp PG_DN                                                     &kp KP_N4  &kp KP_N5   &kp KP_N6   &kp KP_PLUS  &kp KP_MULTIPLY      &kp KP_NUM
 &magic LAYER_Magic 0      &kp LG(Z)  &kp LG(X)  &kp LG(C)  &kp LG(V)  &kp LG(LA(LS(V)))                                                     &kp KP_N1  &kp KP_N2   &kp KP_N3  &kp KP_ENTER        &kp EQUAL  &to LAYER_Base
                                          &none     &trans     &trans                                                                                   &kp KP_N0  &kp KP_DOT  &kp KP_ENTER
                                                                                           &none  &trans  &trans  &trans  &trans  &kp KP_N0
            >;
        };

        layer_Magic {
            bindings = <
       &none     &kp C_BRI_DN     &kp C_BRI_UP       &kp C_PREV        &kp C_NEXT         &kp C_PP                                                          &kp C_MUTE  &kp C_VOL_DN  &kp C_VOL_UP   &none  &bt BT_CLR  &bt BT_CLR_ALL
 &bootloader  &rgb_ug RGB_SPI  &rgb_ug RGB_SAI  &rgb_ug RGB_HUI   &rgb_ug RGB_BRI  &rgb_ug RGB_TOG                                                               &none         &none         &none   &none       &none     &bootloader
  &sys_reset  &rgb_ug RGB_SPD  &rgb_ug RGB_SAD  &rgb_ug RGB_HUD   &rgb_ug RGB_BRD  &rgb_ug RGB_EFF                                                               &none         &none         &none   &none       &none      &sys_reset
       &none            &none            &bt_0            &bt_1             &bt_2            &bt_3                                                               &none         &none         &none   &none       &none           &none
                                  &out OUT_USB            &none  &to LAYER_Typing                                                                                              &none         &none   &none
                                                                                                    &to LAYER_Base   &none   &none   &none   &none   &none
            >;
        };

    };
};
